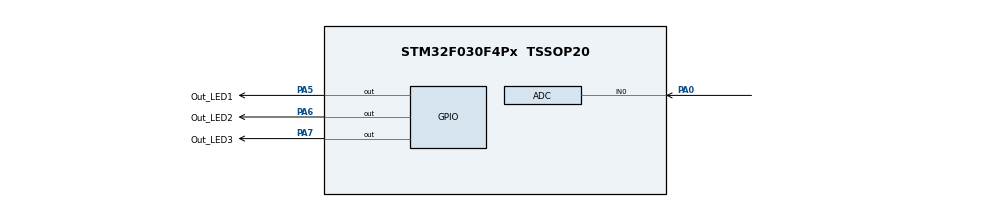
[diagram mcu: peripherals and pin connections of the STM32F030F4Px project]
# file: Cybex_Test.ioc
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ADC.ContinuousConvMode=ENABLE
ADC.DMAContinuousRequests=ENABLE
ADC.SamplingTime=ADC_SAMPLETIME_7CYCLES_5
Dma.ADC.0.Direction=DMA_PERIPH_TO_MEMORY
Dma.ADC.0.Instance=DMA1_Channel1
Dma.ADC.0.MemDataAlignment=DMA_MDATAALIGN_HALFWORD
Dma.ADC.0.MemInc=DMA_MINC_ENABLE
Dma.ADC.0.Mode=DMA_CIRCULAR
Dma.ADC.0.PeriphDataAlignment=DMA_PDATAALIGN_HALFWORD
Dma.ADC.0.PeriphInc=DMA_PINC_DISABLE
Dma.ADC.0.Priority=DMA_PRIORITY_MEDIUM
Dma.Request0=ADC
Mcu.Family=STM32F0
Mcu.Name=STM32F030F4Px
Mcu.Package=TSSOP20
NVIC.DMA1_Channel1_IRQn=true\:0\:0\:false\:false\:true\:false\:true
NVIC.TIM3_IRQn=true\:0\:0\:false\:false\:true\:true\:true
PA0.Mode=IN0
PA0.Signal=ADC_IN0
PA13.Mode=Serial_Wire
PA13.Signal=SYS_SWDIO
PA14.Mode=Serial_Wire
PA14.Signal=SYS_SWCLK
PA5.GPIO_Label=Out_LED1
PA5.Signal=GPIO_Output
PA6.GPIO_Label=Out_LED2
PA6.Signal=GPIO_Output
PA7.GPIO_Label=Out_LED3
PA7.Signal=GPIO_Output
ProjectManager.HeapSize=0x200
ProjectManager.StackSize=0x400
ProjectManager.TargetToolchain=MDK-ARM V5.27
TIM3.Period=20-1
TIM3.Prescaler=800 - 1
VP_ADC_Vref_Input.Mode=IN-Vrefint
VP_TIM3_VS_ClockSourceINT.Mode=Internal
VP_TIM3_VS_OPM.Mode=OPM_bit
board=custom

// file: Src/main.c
/* USER CODE BEGIN Header */
/**
  ******************************************************************************
  * @file           : main.c
  * @brief          : Main program body
  ******************************************************************************
  * @attention
  *
  * <h2><center>&copy; Copyright (c) 2020 STMicroelectronics.
  * All rights reserved.</center></h2>
  *
  * This software component is licensed by ST under BSD 3-Clause license,
  * the "License"; You may not use this file except in compliance with the
  * License. You may obtain a copy of the License at:
  *                        opensource.org/licenses/BSD-3-Clause
  *
  ******************************************************************************
  */
/* USER CODE END Header */

#include "main.h"
#include "adc.h"
#include "dma.h"
#include "tim.h"
#include "gpio.h"

/* USER CODE BEGIN PD */
#define V_IN 3.3
#define VREFINT_CAL 		((uint16_t*) ((uint32_t) 0x1FFFF7BA))
#define ADC_NUM_CHAN 2
#define R3 33
#define R4 5

/* USER CODE END PD */

/* USER CODE BEGIN PV */
float VDDA;
volatile uint16_t ADC_Data[2];
volatile float u[2];
volatile float adc_result;
volatile float Fire_in;
uint8_t leds_on;
/* USER CODE END PV */

void SystemClock_Config(void);
/* USER CODE BEGIN PFP */
void ADC_Read();
/* USER CODE END PFP */

int main(void)
{

  /* MCU Configuration--------------------------------------------------------*/

  /* Reset of all peripherals, Initializes the Flash interface and the Systick. */
  HAL_Init();

  /* Configure the system clock */
  SystemClock_Config();

  /* Initialize all configured peripherals */
  MX_GPIO_Init();
  MX_DMA_Init();
  MX_ADC_Init();
  MX_TIM3_Init();
  /* USER CODE BEGIN 2 */
	HAL_GPIO_WritePin(GPIOA, Out_LED2_Pin|Out_LED3_Pin, GPIO_PIN_SET);
  HAL_GPIO_WritePin(GPIOA, Out_LED1_Pin, GPIO_PIN_RESET);
  HAL_ADC_Start_DMA(&hadc,(uint32_t*) &ADC_Data, 2);
  /* USER CODE END 2 */

  /* Infinite loop */
  /* USER CODE BEGIN WHILE */
  while (1)
  {
		ADC_Read();

		if((Fire_in > V_crit) && !leds_on)
		{
			HAL_TIM_Base_Start_IT(&htim3);
			HAL_GPIO_WritePin(GPIOA, Out_LED2_Pin, GPIO_PIN_RESET);
		}
    /* USER CODE END WHILE */

  }
}

void SystemClock_Config(void)
{
  RCC_OscInitTypeDef RCC_OscInitStruct = {0};
  RCC_ClkInitTypeDef RCC_ClkInitStruct = {0};

  /** Initializes the CPU, AHB and APB busses clocks
  */
  RCC_OscInitStruct.OscillatorType = RCC_OSCILLATORTYPE_HSI|RCC_OSCILLATORTYPE_HSI14;
  RCC_OscInitStruct.HSIState = RCC_HSI_ON;
  RCC_OscInitStruct.HSI14State = RCC_HSI14_ON;
  RCC_OscInitStruct.HSICalibrationValue = RCC_HSICALIBRATION_DEFAULT;
  RCC_OscInitStruct.HSI14CalibrationValue = 16;
  RCC_OscInitStruct.PLL.PLLState = RCC_PLL_NONE;
  if (HAL_RCC_OscConfig(&RCC_OscInitStruct) != HAL_OK)
  {
    Error_Handler();
  }
  /** Initializes the CPU, AHB and APB busses clocks
  */
  RCC_ClkInitStruct.ClockType = RCC_CLOCKTYPE_HCLK|RCC_CLOCKTYPE_SYSCLK
                              |RCC_CLOCKTYPE_PCLK1;
  RCC_ClkInitStruct.SYSCLKSource = RCC_SYSCLKSOURCE_HSI;
  RCC_ClkInitStruct.AHBCLKDivider = RCC_SYSCLK_DIV1;
  RCC_ClkInitStruct.APB1CLKDivider = RCC_HCLK_DIV1;

  if (HAL_RCC_ClockConfig(&RCC_ClkInitStruct, FLASH_LATENCY_0) != HAL_OK)
  {
    Error_Handler();
  }
}

/* USER CODE BEGIN 4 */
void ADC_Read()
{
	if(ADC1->ISR & ADC_ISR_EOSEQ)
	{
		ADC1->ISR |= ADC_ISR_EOSEQ;
		for(uint8_t ch = 0; ch < ADC_NUM_CHAN; ch++)
			u[ch] = (float)ADC_Data[ch];

		VDDA = (V_IN * (uint32_t) *VREFINT_CAL) /u[1];
		adc_result = VDDA * (u[0]) / 4095;

		Fire_in = adc_result/R4*(R3+R4);
	}
}
/* USER CODE END 4 */

void Error_Handler(void)
{
}

/************************ (C) COPYRIGHT STMicroelectronics *****END OF FILE****/
